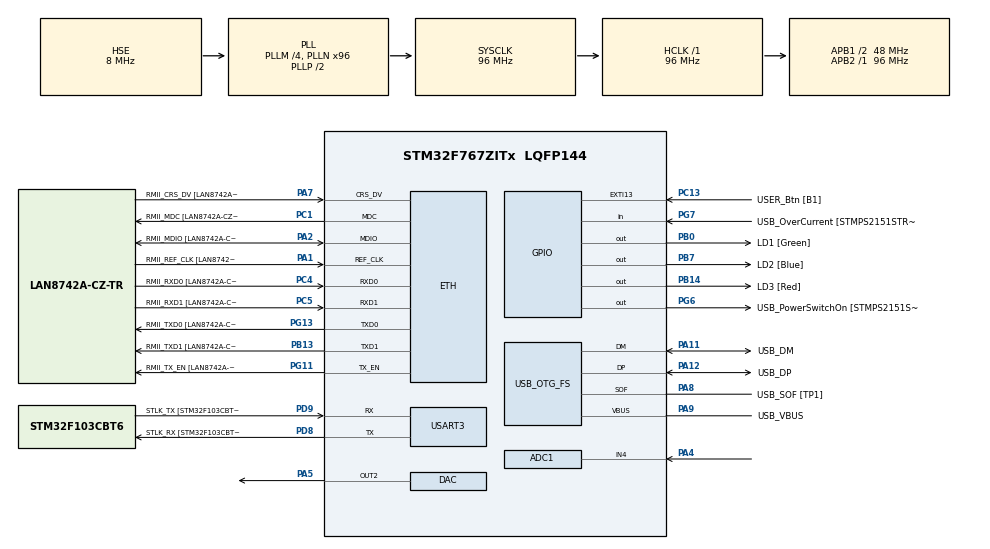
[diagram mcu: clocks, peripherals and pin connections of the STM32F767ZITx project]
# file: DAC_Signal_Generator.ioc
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ADC1.Channel-0\#ChannelRegularConversion=ADC_CHANNEL_4
ADC1.ContinuousConvMode=ENABLE
ADC1.NbrOfConversionFlag=1
ADC1.Rank-0\#ChannelRegularConversion=1
ADC1.SamplingTime-0\#ChannelRegularConversion=ADC_SAMPLETIME_3CYCLES
ADC1.master=1
ETH.MediaInterface=HAL_ETH_RMII_MODE
ETH.PHY_Name=LAN8742A_PHY_ADDRESS
ETH.PHY_Value=0
ETH.PhyAddress=0
Mcu.Family=STM32F7
Mcu.Name=STM32F767ZITx
Mcu.Package=LQFP144
NVIC.PriorityGroup=NVIC_PRIORITYGROUP_4
PA1.GPIO_Label=RMII_REF_CLK [LAN8742A-CZ-TR_REFCLK0]
PA1.Mode=RMII
PA1.Signal=ETH_REF_CLK
PA10.GPIO_Label=USB_ID
PA10.Signal=USB_OTG_FS_ID
PA11.GPIO_Label=USB_DM
PA11.Mode=Device_Only
PA11.Signal=USB_OTG_FS_DM
PA12.GPIO_Label=USB_DP
PA12.Mode=Device_Only
PA12.Signal=USB_OTG_FS_DP
PA13.GPIO_Label=TMS
PA13.Mode=Serial_Wire
PA13.Signal=SYS_JTMS-SWDIO
PA14.GPIO_Label=TCK
PA14.Mode=Serial_Wire
PA14.Signal=SYS_JTCK-SWCLK
PA2.GPIO_Label=RMII_MDIO [LAN8742A-CZ-TR_MDIO]
PA2.Mode=RMII
PA2.Signal=ETH_MDIO
PA4.Signal=ADCx_IN4
PA5.Signal=COMP_DAC2_group
PA7.GPIO_Label=RMII_CRS_DV [LAN8742A-CZ-TR_CRS_DV]
PA7.Mode=RMII
PA7.Signal=ETH_CRS_DV
PA8.GPIO_Label=USB_SOF [TP1]
PA8.Mode=Activate_SOF_FS
PA8.Signal=USB_OTG_FS_SOF
PA9.GPIO_Label=USB_VBUS
PA9.Mode=Activate_VBUS
PA9.Signal=USB_OTG_FS_VBUS
PB0.GPIO_Label=LD1 [Green]
PB0.Signal=GPIO_Output
PB13.GPIO_Label=RMII_TXD1 [LAN8742A-CZ-TR_TXD1]
PB13.Mode=RMII
PB13.Signal=ETH_TXD1
PB14.GPIO_Label=LD3 [Red]
PB14.Signal=GPIO_Output
PB3.GPIO_Label=SWO
PB3.Signal=SYS_JTDO-SWO
PB7.GPIO_Label=LD2 [Blue]
PB7.Signal=GPIO_Output
PC1.GPIO_Label=RMII_MDC [LAN8742A-CZ-TR_MDC]
PC1.Mode=RMII
PC1.Signal=ETH_MDC
PC13.GPIO_Label=USER_Btn [B1]
PC13.Signal=GPXTI13
PC14/OSC32_IN.Mode=LSE-External-Oscillator
PC14/OSC32_IN.Signal=RCC_OSC32_IN
PC15/OSC32_OUT.Mode=LSE-External-Oscillator
PC15/OSC32_OUT.Signal=RCC_OSC32_OUT
PC4.GPIO_Label=RMII_RXD0 [LAN8742A-CZ-TR_RXD0]
PC4.Mode=RMII
PC4.Signal=ETH_RXD0
PC5.GPIO_Label=RMII_RXD1 [LAN8742A-CZ-TR_RXD1]
PC5.Mode=RMII
PC5.Signal=ETH_RXD1
PD8.GPIO_Label=STLK_RX [STM32F103CBT6_PA3]
PD8.Mode=Asynchronous
PD8.Signal=USART3_TX
PD9.GPIO_Label=STLK_TX [STM32F103CBT6_PA2]
PD9.Mode=Asynchronous
PD9.Signal=USART3_RX
PG11.GPIO_Label=RMII_TX_EN [LAN8742A-CZ-TR_TXEN]
PG11.Mode=RMII
PG11.Signal=ETH_TX_EN
PG13.GPIO_Label=RMII_TXD0 [LAN8742A-CZ-TR_TXD0]
PG13.Mode=RMII
PG13.Signal=ETH_TXD0
PG6.GPIO_Label=USB_PowerSwitchOn [STMPS2151STR_EN]
PG6.Signal=GPIO_Output
PG7.GPIO_Label=USB_OverCurrent [STMPS2151STR_FAULT]
PG7.Signal=GPIO_Input
PH0/OSC_IN.GPIO_Label=MCO [STM32F103CBT6_PA8]
PH0/OSC_IN.Mode=HSE-External-Clock-Source
PH0/OSC_IN.Signal=RCC_OSC_IN
PH1/OSC_OUT.Mode=HSE-External-Clock-Source
PH1/OSC_OUT.Signal=RCC_OSC_OUT
ProjectManager.HeapSize=0x200
ProjectManager.StackSize=0x400
ProjectManager.TargetToolchain=STM32CubeIDE
RCC.48MHZClocksFreq_Value=24000000
RCC.AHBFreq_Value=96000000
RCC.APB1CLKDivider=RCC_HCLK_DIV2
RCC.APB1Freq_Value=48000000
RCC.APB1TimFreq_Value=96000000
RCC.APB2Freq_Value=96000000
RCC.APB2TimFreq_Value=96000000
RCC.CortexFreq_Value=96000000
RCC.HCLKFreq_Value=96000000
RCC.HSE_VALUE=8000000
RCC.HSI_VALUE=16000000
RCC.PLLM=4
RCC.PLLMUL=RCC_PLL_MUL9
RCC.PLLN=96
RCC.PLLQ=4
RCC.PRESCALERUSB=RCC_USBCLKSOURCE_PLL_DIV1_5
RCC.SYSCLKFreq_VALUE=96000000
RCC.SYSCLKSource=RCC_SYSCLKSOURCE_PLLCLK
RCC.SYSCLKSourceVirtual=RCC_SYSCLKSOURCE_PLLCLK
RCC.USBFreq_Value=48000000
RCC.VCOOutputFreq_Value=192000000
SH.ADCx_IN4.0=ADC1_IN4,IN4
SH.COMP_DAC2_group.0=DAC_OUT2,DAC_OUT2
USART3.VirtualMode-Asynchronous=VM_ASYNC
USB_OTG_FS.VirtualMode=Device_Only
board=NUCLEO-F767ZI

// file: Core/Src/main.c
/* USER CODE BEGIN Header */
/**
  ******************************************************************************
  * @file           : main.c
  * @brief          : DAC ile Sinüs üretimi ve ADC ile okuma
  ******************************************************************************
  */
/* USER CODE END Header */
#include "main.h"
#include "string.h"
#include "math.h"

/* USER CODE BEGIN PD */
#define SINE_SAMPLES 100  // Sinüs tablosundaki örnek sayısı
#define DAC_MAX 4095      // 12-bit DAC maksimum değeri
#define DAC_OFFSET 2048   // DAC ortası (DC offset)
#define SINE_AMPLITUDE 2000 // Sinüs genliği (0-2048 arası)
/* USER CODE END PD */

#if defined ( __ICCARM__ ) /*!< IAR Compiler */
#pragma location=0x2007c000
ETH_DMADescTypeDef  DMARxDscrTab[ETH_RX_DESC_CNT];
#pragma location=0x2007c0a0
ETH_DMADescTypeDef  DMATxDscrTab[ETH_TX_DESC_CNT];

#elif defined ( __CC_ARM )  /* MDK ARM Compiler */

__attribute__((at(0x2007c000))) ETH_DMADescTypeDef  DMARxDscrTab[ETH_RX_DESC_CNT];
__attribute__((at(0x2007c0a0))) ETH_DMADescTypeDef  DMATxDscrTab[ETH_TX_DESC_CNT];

#elif defined ( __GNUC__ ) /* GNU Compiler */

ETH_DMADescTypeDef DMARxDscrTab[ETH_RX_DESC_CNT] __attribute__((section(".RxDecripSection")));
ETH_DMADescTypeDef DMATxDscrTab[ETH_TX_DESC_CNT] __attribute__((section(".TxDecripSection")));
#endif

ETH_TxPacketConfig TxConfig;

ADC_HandleTypeDef hadc1;
DAC_HandleTypeDef hdac;
ETH_HandleTypeDef heth;
UART_HandleTypeDef huart3;
PCD_HandleTypeDef hpcd_USB_OTG_FS;

/* USER CODE BEGIN PV */
// Sinüs lookup table
uint16_t sine_table[SINE_SAMPLES];

// Debugger'da izlenecek değişkenler
uint32_t sine_index = 0;
uint32_t dac_value = 0;
uint32_t adc_value = 0;
float voltage_dac = 0.0f;
float voltage_adc = 0.0f;
float sine_angle_degrees = 0.0f;
/* USER CODE END PV */

void SystemClock_Config(void);
static void MX_GPIO_Init(void);
static void MX_ETH_Init(void);
static void MX_USART3_UART_Init(void);
static void MX_USB_OTG_FS_PCD_Init(void);
static void MX_ADC1_Init(void);
static void MX_DAC_Init(void);
/* USER CODE BEGIN PFP */
void Generate_Sine_Table(void);
/* USER CODE END PFP */

/* USER CODE BEGIN 0 */

/**
  * @brief  Sinüs lookup tablosunu oluştur
  * @retval None
  */
void Generate_Sine_Table(void)
{
    for(int i = 0; i < SINE_SAMPLES; i++)
    {
        // sin(x) değeri -1 ile +1 arasında
        // DAC için 0-4095 arasına ölçeklendiriyoruz
        float angle = (2.0f * M_PI * i) / SINE_SAMPLES;
        float sine_value = sinf(angle);

        // Sinüs değerini DAC aralığına çevir
        sine_table[i] = (uint16_t)(DAC_OFFSET + (sine_value * SINE_AMPLITUDE));

        // Taşma kontrolü
        if(sine_table[i] > DAC_MAX)
            sine_table[i] = DAC_MAX;
    }
}

/* USER CODE END 0 */

int main(void)
{

  /* MCU Configuration--------------------------------------------------------*/

  /* Reset of all peripherals, Initializes the Flash interface and the Systick. */
  HAL_Init();

  /* Configure the system clock */
  SystemClock_Config();

  /* Initialize all configured peripherals */
  MX_GPIO_Init();
  MX_ETH_Init();
  MX_USART3_UART_Init();
  MX_USB_OTG_FS_PCD_Init();
  MX_ADC1_Init();
  MX_DAC_Init();
  /* USER CODE BEGIN 2 */

  // Sinüs tablosunu oluştur
  Generate_Sine_Table();

  // DAC'ı başlat (OUT2 kullanıyorsunuz - PA5)
  HAL_DAC_Start(&hdac, DAC_CHANNEL_2);

  // ADC'yi başlat
  HAL_ADC_Start(&hadc1);

  /* USER CODE END 2 */

  /* Infinite loop */
  /* USER CODE BEGIN WHILE */
  while (1)
  {
    // Sinüs tablosundan değer al
    dac_value = sine_table[sine_index];  // ← BREAKPOINT 1 BURAYA KOY

    // Açıyı derece cinsinden hesapla (debugger'da görmek için)
    sine_angle_degrees = (360.0f * sine_index) / SINE_SAMPLES;

    // DAC'a sinüs değerini yaz
    HAL_DAC_SetValue(&hdac, DAC_CHANNEL_2, DAC_ALIGN_12B_R, dac_value);

    // DAC'ın stabilize olması için kısa bekleme
    HAL_Delay(5);

    // ADC'den oku
    HAL_ADC_PollForConversion(&hadc1, 100);
    adc_value = HAL_ADC_GetValue(&hadc1);  // ← BREAKPOINT 2 BURAYA KOY

    // Voltajları hesapla (3.3V referans)
    voltage_dac = (dac_value * 3.3f) / 4095.0f;
    voltage_adc = (adc_value * 3.3f) / 4095.0f;

    // Bir sonraki sinüs örneğine geç
    sine_index++;
    if(sine_index >= SINE_SAMPLES)
    {
        sine_index = 0;  // Başa dön
    }

    // Sinüs hızını ayarla (ms cinsinden)
    HAL_Delay(10);  // 10ms = Yavaş (sunum için ideal)
                    // 5ms = Orta hız
                    // 1ms = Hızlı

  /* USER CODE END WHILE */

  }
}

void SystemClock_Config(void)
{
  RCC_OscInitTypeDef RCC_OscInitStruct = {0};
  RCC_ClkInitTypeDef RCC_ClkInitStruct = {0};

  /** Configure LSE Drive Capability
  */
  HAL_PWR_EnableBkUpAccess();

  /** Configure the main internal regulator output voltage
  */
  __HAL_RCC_PWR_CLK_ENABLE();
  __HAL_PWR_VOLTAGESCALING_CONFIG(PWR_REGULATOR_VOLTAGE_SCALE3);

  /** Initializes the RCC Oscillators according to the specified parameters
  * in the RCC_OscInitTypeDef structure.
  */
  RCC_OscInitStruct.OscillatorType = RCC_OSCILLATORTYPE_HSE;
  RCC_OscInitStruct.HSEState = RCC_HSE_BYPASS;
  RCC_OscInitStruct.PLL.PLLState = RCC_PLL_ON;
  RCC_OscInitStruct.PLL.PLLSource = RCC_PLLSOURCE_HSE;
  RCC_OscInitStruct.PLL.PLLM = 4;
  RCC_OscInitStruct.PLL.PLLN = 96;
  RCC_OscInitStruct.PLL.PLLP = RCC_PLLP_DIV2;
  RCC_OscInitStruct.PLL.PLLQ = 4;
  RCC_OscInitStruct.PLL.PLLR = 2;
  if (HAL_RCC_OscConfig(&RCC_OscInitStruct) != HAL_OK)
  {
    Error_Handler();
  }

  /** Activate the Over-Drive mode
  */
  if (HAL_PWREx_EnableOverDrive() != HAL_OK)
  {
    Error_Handler();
  }

  /** Initializes the CPU, AHB and APB buses clocks
  */
  RCC_ClkInitStruct.ClockType = RCC_CLOCKTYPE_HCLK|RCC_CLOCKTYPE_SYSCLK
                              |RCC_CLOCKTYPE_PCLK1|RCC_CLOCKTYPE_PCLK2;
  RCC_ClkInitStruct.SYSCLKSource = RCC_SYSCLKSOURCE_PLLCLK;
  RCC_ClkInitStruct.AHBCLKDivider = RCC_SYSCLK_DIV1;
  RCC_ClkInitStruct.APB1CLKDivider = RCC_HCLK_DIV2;
  RCC_ClkInitStruct.APB2CLKDivider = RCC_HCLK_DIV1;

  if (HAL_RCC_ClockConfig(&RCC_ClkInitStruct, FLASH_LATENCY_3) != HAL_OK)
  {
    Error_Handler();
  }
}

static void MX_ADC1_Init(void)
{
  ADC_ChannelConfTypeDef sConfig = {0};

  hadc1.Instance = ADC1;
  hadc1.Init.ClockPrescaler = ADC_CLOCK_SYNC_PCLK_DIV4;
  hadc1.Init.Resolution = ADC_RESOLUTION_12B;
  hadc1.Init.ScanConvMode = ADC_SCAN_DISABLE;
  hadc1.Init.ContinuousConvMode = ENABLE;
  hadc1.Init.DiscontinuousConvMode = DISABLE;
  hadc1.Init.ExternalTrigConvEdge = ADC_EXTERNALTRIGCONVEDGE_NONE;
  hadc1.Init.ExternalTrigConv = ADC_SOFTWARE_START;
  hadc1.Init.DataAlign = ADC_DATAALIGN_RIGHT;
  hadc1.Init.NbrOfConversion = 1;
  hadc1.Init.DMAContinuousRequests = DISABLE;
  hadc1.Init.EOCSelection = ADC_EOC_SINGLE_CONV;
  if (HAL_ADC_Init(&hadc1) != HAL_OK)
  {
    Error_Handler();
  }

  sConfig.Channel = ADC_CHANNEL_4;
  sConfig.Rank = ADC_REGULAR_RANK_1;
  sConfig.SamplingTime = ADC_SAMPLETIME_3CYCLES;
  if (HAL_ADC_ConfigChannel(&hadc1, &sConfig) != HAL_OK)
  {
    Error_Handler();
  }
}

static void MX_DAC_Init(void)
{
  DAC_ChannelConfTypeDef sConfig = {0};

  hdac.Instance = DAC;
  if (HAL_DAC_Init(&hdac) != HAL_OK)
  {
    Error_Handler();
  }

  sConfig.DAC_Trigger = DAC_TRIGGER_NONE;
  sConfig.DAC_OutputBuffer = DAC_OUTPUTBUFFER_ENABLE;
  if (HAL_DAC_ConfigChannel(&hdac, &sConfig, DAC_CHANNEL_2) != HAL_OK)
  {
    Error_Handler();
  }
}

static void MX_ETH_Init(void)
{
  static uint8_t MACAddr[6];

  heth.Instance = ETH;
  MACAddr[0] = 0x00;
  MACAddr[1] = 0x80;
  MACAddr[2] = 0xE1;
  MACAddr[3] = 0x00;
  MACAddr[4] = 0x00;
  MACAddr[5] = 0x00;
  heth.Init.MACAddr = &MACAddr[0];
  heth.Init.MediaInterface = HAL_ETH_RMII_MODE;
  heth.Init.TxDesc = DMATxDscrTab;
  heth.Init.RxDesc = DMARxDscrTab;
  heth.Init.RxBuffLen = 1524;

  if (HAL_ETH_Init(&heth) != HAL_OK)
  {
    Error_Handler();
  }

  memset(&TxConfig, 0 , sizeof(ETH_TxPacketConfig));
  TxConfig.Attributes = ETH_TX_PACKETS_FEATURES_CSUM | ETH_TX_PACKETS_FEATURES_CRCPAD;
  TxConfig.ChecksumCtrl = ETH_CHECKSUM_IPHDR_PAYLOAD_INSERT_PHDR_CALC;
  TxConfig.CRCPadCtrl = ETH_CRC_PAD_INSERT;
}

static void MX_USART3_UART_Init(void)
{
  huart3.Instance = USART3;
  huart3.Init.BaudRate = 115200;
  huart3.Init.WordLength = UART_WORDLENGTH_8B;
  huart3.Init.StopBits = UART_STOPBITS_1;
  huart3.Init.Parity = UART_PARITY_NONE;
  huart3.Init.Mode = UART_MODE_TX_RX;
  huart3.Init.HwFlowCtl = UART_HWCONTROL_NONE;
  huart3.Init.OverSampling = UART_OVERSAMPLING_16;
  huart3.Init.OneBitSampling = UART_ONE_BIT_SAMPLE_DISABLE;
  huart3.AdvancedInit.AdvFeatureInit = UART_ADVFEATURE_NO_INIT;
  if (HAL_UART_Init(&huart3) != HAL_OK)
  {
    Error_Handler();
  }
}

static void MX_USB_OTG_FS_PCD_Init(void)
{
  hpcd_USB_OTG_FS.Instance = USB_OTG_FS;
  hpcd_USB_OTG_FS.Init.dev_endpoints = 6;
  hpcd_USB_OTG_FS.Init.speed = PCD_SPEED_FULL;
  hpcd_USB_OTG_FS.Init.dma_enable = DISABLE;
  hpcd_USB_OTG_FS.Init.phy_itface = PCD_PHY_EMBEDDED;
  hpcd_USB_OTG_FS.Init.Sof_enable = ENABLE;
  hpcd_USB_OTG_FS.Init.low_power_enable = DISABLE;
  hpcd_USB_OTG_FS.Init.lpm_enable = DISABLE;
  hpcd_USB_OTG_FS.Init.vbus_sensing_enable = ENABLE;
  hpcd_USB_OTG_FS.Init.use_dedicated_ep1 = DISABLE;
  if (HAL_PCD_Init(&hpcd_USB_OTG_FS) != HAL_OK)
  {
    Error_Handler();
  }
}

static void MX_GPIO_Init(void)
{
  GPIO_InitTypeDef GPIO_InitStruct = {0};

  /* GPIO Ports Clock Enable */
  __HAL_RCC_GPIOC_CLK_ENABLE();
  __HAL_RCC_GPIOH_CLK_ENABLE();
  __HAL_RCC_GPIOA_CLK_ENABLE();
  __HAL_RCC_GPIOB_CLK_ENABLE();
  __HAL_RCC_GPIOD_CLK_ENABLE();
  __HAL_RCC_GPIOG_CLK_ENABLE();

  /*Configure GPIO pin Output Level */
  HAL_GPIO_WritePin(GPIOB, LD1_Pin|LD3_Pin|LD2_Pin, GPIO_PIN_RESET);

  /*Configure GPIO pin Output Level */
  HAL_GPIO_WritePin(USB_PowerSwitchOn_GPIO_Port, USB_PowerSwitchOn_Pin, GPIO_PIN_RESET);

  /*Configure GPIO pin : USER_Btn_Pin */
  GPIO_InitStruct.Pin = USER_Btn_Pin;
  GPIO_InitStruct.Mode = GPIO_MODE_IT_RISING;
  GPIO_InitStruct.Pull = GPIO_NOPULL;
  HAL_GPIO_Init(USER_Btn_GPIO_Port, &GPIO_InitStruct);

  /*Configure GPIO pins : LD1_Pin LD3_Pin LD2_Pin */
  GPIO_InitStruct.Pin = LD1_Pin|LD3_Pin|LD2_Pin;
  GPIO_InitStruct.Mode = GPIO_MODE_OUTPUT_PP;
  GPIO_InitStruct.Pull = GPIO_NOPULL;
  GPIO_InitStruct.Speed = GPIO_SPEED_FREQ_LOW;
  HAL_GPIO_Init(GPIOB, &GPIO_InitStruct);

  /*Configure GPIO pin : USB_PowerSwitchOn_Pin */
  GPIO_InitStruct.Pin = USB_PowerSwitchOn_Pin;
  GPIO_InitStruct.Mode = GPIO_MODE_OUTPUT_PP;
  GPIO_InitStruct.Pull = GPIO_NOPULL;
  GPIO_InitStruct.Speed = GPIO_SPEED_FREQ_LOW;
  HAL_GPIO_Init(USB_PowerSwitchOn_GPIO_Port, &GPIO_InitStruct);

  /*Configure GPIO pin : USB_OverCurrent_Pin */
  GPIO_InitStruct.Pin = USB_OverCurrent_Pin;
  GPIO_InitStruct.Mode = GPIO_MODE_INPUT;
  GPIO_InitStruct.Pull = GPIO_NOPULL;
  HAL_GPIO_Init(USB_OverCurrent_GPIO_Port, &GPIO_InitStruct);
}

void Error_Handler(void)
{
  __disable_irq();
  while (1)
  {
  }
}

/* =============================================================================
   DEBUGGER KULLANIM TALİMATLARI
   =============================================================================

   1. BREAKPOINT NEREYE KOYULACAK?

      Kod içinde şu 2 satıra breakpoint koy (satır numarasının yanına tıkla):

      ✓ dac_value = sine_table[sine_index];  (Satır ~130)
      ✓ adc_value = HAL_ADC_GetValue(&hadc1); (Satır ~143)

   2. WATCH/EXPRESSIONS'A NE EKLENMELİ?

      Debugger başladıktan sonra "Expressions" sekmesinde şunları ekle:

      sine_index
      sine_angle_degrees
      dac_value
      adc_value
      voltage_dac
      voltage_adc

   3. NASIL ÇALIŞTIRILIR?

      ▶ F11 (Debug) → Program yüklenir
      ▶ F8 (Resume) → İlk breakpoint'te durur
      ▶ F6 (Step Over) → Bir satır ilerle ve değerleri izle
      ▶ F8 (Resume) → Sürekli çalıştır

   4. GÖRECEKLER (ÖRNEKLER):

      1. Döngü:
         sine_index = 0
         sine_angle_degrees = 0.0°
         dac_value = 2048
         voltage_dac = 1.65V
         adc_value = ~2048
         voltage_adc = ~1.65V

      2. Döngü:
         sine_index = 25
         sine_angle_degrees = 90.0°
         dac_value = 4048 (max)
         voltage_dac = 3.26V
         adc_value = ~4048
         voltage_adc = ~3.26V

      3. Döngü:
         sine_index = 50
         sine_angle_degrees = 180.0°
         dac_value = 2048
         voltage_dac = 1.65V

      4. Döngü:
         sine_index = 75
         sine_angle_degrees = 270.0°
         dac_value = 48 (min)
         voltage_dac = 0.04V

   5. FİZİKSEL BAĞLANTI KONTROL:

      PA5 (DAC_OUT2) ----[Jumper Kablo]---- PA4 (ADC1_IN4)

      Bu bağlantı OLMADAN ADC rastgele değerler okur!

   6. HIZ AYARLAMA:

      HAL_Delay(10) satırını değiştir:
      - HAL_Delay(1)  → Hızlı (~10 Hz sinüs)
      - HAL_Delay(5)  → Orta hız (~2 Hz)
      - HAL_Delay(10) → Yavaş (sunum için ideal ~1 Hz)
      - HAL_Delay(20) → Çok yavaş (~0.5 Hz)

   ============================================================================= */
